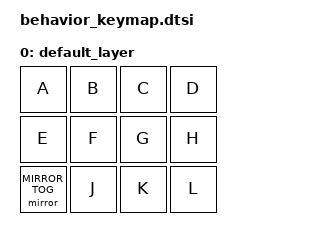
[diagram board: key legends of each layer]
#include <dt-bindings/zmk/keys.h>
#include <dt-bindings/zmk/mirror.h>
#include <behaviors.dtsi>
#include <dt-bindings/zmk/kscan_mock.h>

/*
 * Fork: mirror mode's combo-positions (PATCH_MIRROR_MODE.md §3.3).
 *
 *  pos  0  1  2  3     A B C D
 *       4  5  6  7     E F G H
 *       8  9 10 11     mirror TOG, J K L
 *
 * mirror-positions reflects rows 0 and 1 (0<->3, 1<->2, 4<->7, 5<->6); row 2 maps to itself.
 * combo-positions is different: row 0 keeps its keys (an opener/closer pair stays in order),
 * row 1 reflects, and 9/10 act as 2/3 (an arbitrary relocation).
 * Combos: {0,1} -> Y, {2,3} -> X, {4,5} -> Z.
 */
&kscan {
    rows = <3>;
    columns = <4>;
};

/ {
    behaviors {
        mirror: mirror {
            compatible = "zmk,behavior-mirror";
            #binding-cells = <1>;
            mirror-positions = <3 2 1 0  7 6 5 4  8 9 10 11>;
            combo-positions = <0 1 2 3  7 6 5 4  8 2 3 11>;
            base {
                layers = <0>;
            };
        };
    };

    combos {
        compatible = "zmk,combos";
        combo_ab {
            timeout-ms = <50>;
            key-positions = <0 1>;
            bindings = <&kp Y>;
        };
        combo_cd {
            timeout-ms = <50>;
            key-positions = <2 3>;
            bindings = <&kp X>;
        };
        combo_ef {
            timeout-ms = <50>;
            key-positions = <4 5>;
            bindings = <&kp Z>;
        };
    };

    keymap {
        compatible = "zmk,keymap";

        default_layer {
            bindings = <
                &kp A              &kp B  &kp C  &kp D
                &kp E              &kp F  &kp G  &kp H
                &mirror MIRROR_TOG &kp J  &kp K  &kp L>;
        };
    };
};
